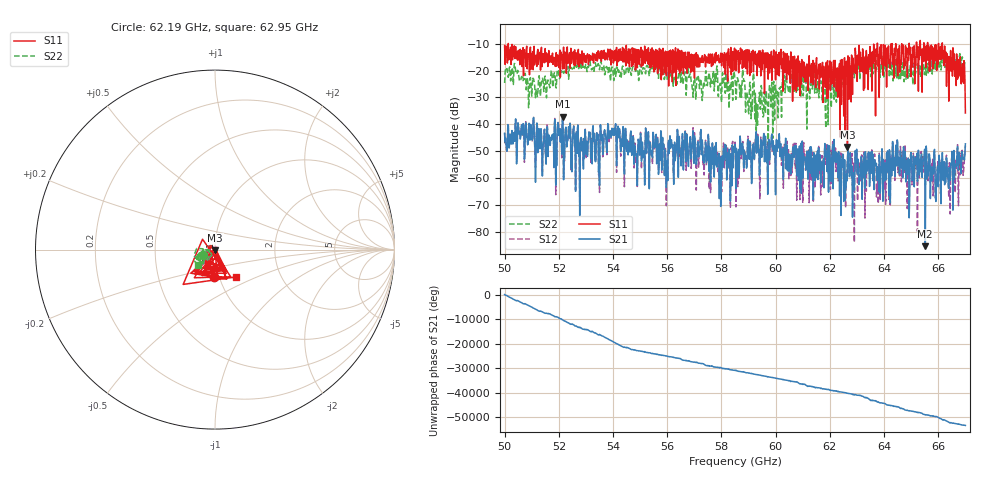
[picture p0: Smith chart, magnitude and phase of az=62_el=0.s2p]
!Created with skrf (http://scikit-rf.org).
# GHz S RI R 50.0
!freq ReS11 ImS11 ReS21 ImS21 ReS12 ImS12 ReS22 ImS22
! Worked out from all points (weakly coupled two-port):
!   1001 points, 50 GHz to 67 GHz, reference 50 ohm
!   highest |S21| = -37.21 dB at 52.14 GHz (marker M1); lowest = -85.4 dB at 65.52 GHz (marker M2)
!   lowest |S11| = -48.5 dB at 62.65 GHz (marker M3), VSWR 1.01, Z = 50.2 - j0.342 ohm
!   |S11| at or under -10 dB: 50.14 GHz to 63.75 GHz (13.62 GHz wide, 23.9 % of centre); 63.75 GHz to 64.3 GHz (542.9 MHz wide, 0.848 % of centre); 66.15 GHz to end of sweep (the widest 3 of 12)
!   |S22| runs from -53.5 to -13.7 dB; largest |S21 - S12| = 0.0022
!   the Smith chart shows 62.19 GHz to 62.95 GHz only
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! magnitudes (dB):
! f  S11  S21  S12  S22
! 50 GHz  -10.6  -43.4  -43.3  -24.6
! 51.16 GHz  -14.4  -52.7  -50.9  -27.6
! 52.14 GHz  -19.4  -37.2  -37.1  -21.2
! 52.84 GHz  -14.3  -45.4  -45.3  -19.5
! 54.03 GHz  -13.2  -41.6  -41.8  -23.7
! 54.86 GHz  -13.5  -51.1  -51.5  -19.1
! 55.68 GHz  -14.2  -58.7  -57.3  -22.9
! 57.21 GHz  -15.8  -49.3  -49.0  -25.0
! 57.97 GHz  -13.5  -70.6  -60.9  -24.9
! 58.5 GHz  -19.8  -47.4  -46.6  -23.5
! 59.3 GHz  -14.2  -50.7  -50.0  -32.5
! 60.34 GHz  -13.5  -50.9  -51.5  -24.4
! 61.34 GHz  -24.3  -59.4  -61.4  -24.7
! 61.88 GHz  -30.3  -51.4  -51.3  -24.3
! 62.65 GHz  -48.5  -54.3  -53.6  -22.6
! 63.01 GHz  -24.0  -57.8  -57.0  -19.6
! 63.8 GHz  -14.2  -65.0  -55.7  -16.5
! 64.18 GHz  -17.5  -66.6  -68.0  -18.7
! 65.52 GHz  -12.6  -85.4  -62.7  -18.8
! 66.41 GHz  -14.8  -56.2  -54.4  -15.7
! 66.9 GHz  -17.5  -51.7  -50.6  -15.3
! 67 GHz  -35.8  -47.3  -48.1  -16.0
